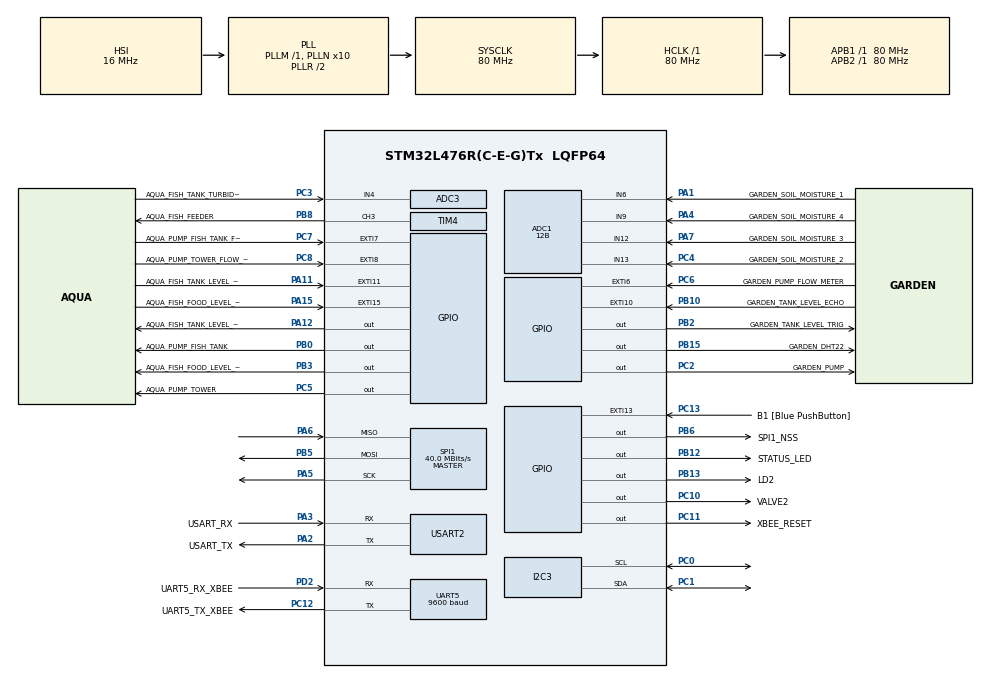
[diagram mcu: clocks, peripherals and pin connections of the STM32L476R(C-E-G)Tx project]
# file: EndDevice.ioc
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ADC1.Channel-41\#ChannelRegularConversion=ADC_CHANNEL_13
ADC1.Channel-54\#ChannelRegularConversion=ADC_CHANNEL_9
ADC1.ClockPrescaler=ADC_CLOCK_ASYNC_DIV1
ADC1.ContinuousConvMode=DISABLE
ADC1.DMAContinuousRequests=DISABLE
ADC1.DataAlign=ADC_DATAALIGN_RIGHT
ADC1.DiscontinuousConvMode=DISABLE
ADC1.EOCSelection=ADC_EOC_SINGLE_CONV
ADC1.EnableAnalogWatchDog1=false
ADC1.EnableAnalogWatchDog2=false
ADC1.EnableAnalogWatchDog3=false
ADC1.EnableInjectedConversion=DISABLE
ADC1.EnableRegularConversion=ENABLE
ADC1.ExternalTrigConv=ADC_SOFTWARE_START
ADC1.ExternalTrigConvEdge=ADC_EXTERNALTRIGCONVEDGE_NONE
ADC1.LowPowerAutoWait=DISABLE
ADC1.NbrOfConversion=1
ADC1.NbrOfConversionFlag=1
ADC1.OffsetNumber-41\#ChannelRegularConversion=ADC_OFFSET_NONE
ADC1.OffsetNumber-54\#ChannelRegularConversion=ADC_OFFSET_NONE
ADC1.Overrun=ADC_OVR_DATA_PRESERVED
ADC1.OversamplingMode=DISABLE
ADC1.Rank-41\#ChannelRegularConversion=1
ADC1.Rank-54\#ChannelRegularConversion=1
ADC1.Resolution=ADC_RESOLUTION_12B
ADC1.SamplingTime-41\#ChannelRegularConversion=ADC_SAMPLETIME_2CYCLES_5
ADC1.SamplingTime-54\#ChannelRegularConversion=ADC_SAMPLETIME_2CYCLES_5
ADC1.ScanConvMode=ADC_SCAN_DISABLE
ADC1.master=1
ADC3.Channel-1\#ChannelRegularConversion=ADC_CHANNEL_4
ADC3.NbrOfConversionFlag=1
ADC3.OffsetNumber-1\#ChannelRegularConversion=ADC_OFFSET_NONE
ADC3.Rank-1\#ChannelRegularConversion=1
ADC3.SamplingTime-1\#ChannelRegularConversion=ADC_SAMPLETIME_2CYCLES_5
FREERTOS.HEAP_NUMBER=1
FREERTOS.Tasks01=defaultTask,0,128,StartDefaultTask,Default
FREERTOS.configTOTAL_HEAP_SIZE=32000
FREERTOS.configUSE_TIMERS=1
Mcu.Family=STM32L4
Mcu.Name=STM32L476R(C-E-G)Tx
Mcu.Package=LQFP64
NVIC.EXTI15_10_IRQn=true\:5\:0\:false\:false\:true\:true
NVIC.EXTI9_5_IRQn=true\:5\:0\:false\:false\:true\:true
NVIC.PriorityGroup=NVIC_PRIORITYGROUP_4
NVIC.RTC_Alarm_IRQn=true\:5\:0\:false\:false\:true\:true
NVIC.SPI1_IRQn=true\:0\:0\:false\:false\:true\:false
NVIC.TIM1_UP_TIM16_IRQn=true\:0\:0\:false\:false\:true\:false
NVIC.TimeBase=TIM1_UP_TIM16_IRQn
NVIC.TimeBaseIP=TIM1
NVIC.UART5_IRQn=true\:5\:0\:false\:false\:true\:true
NVIC.USART2_IRQn=true\:5\:0\:false\:false\:true\:true
PA1.GPIO_Label=GARDEN_SOIL_MOISTURE_1
PA1.Signal=ADCx_IN6
PA11.GPIO_Label=AQUA_FISH_TANK_LEVEL_ECHO
PA11.Signal=GPXTI11
PA12.GPIO_Label=AQUA_FISH_TANK_LEVEL_TRIG
PA12.Signal=GPIO_Output
PA13.GPIO_Label=TMS
PA13.Mode=Serial_Wire
PA13.Signal=SYS_JTMS-SWDIO
PA14.GPIO_Label=TCK
PA14.Mode=Serial_Wire
PA14.Signal=SYS_JTCK-SWCLK
PA15.GPIO_Label=AQUA_FISH_FOOD_LEVEL_ECHO
PA15.Signal=GPXTI15
PA2.GPIO_Label=USART_TX
PA2.GPIO_Mode=GPIO_MODE_AF_PP
PA2.GPIO_PuPd=GPIO_NOPULL
PA2.GPIO_Speed=GPIO_SPEED_FREQ_VERY_HIGH
PA2.Mode=Asynchronous
PA2.Signal=USART2_TX
PA3.GPIO_Label=USART_RX
PA3.GPIO_Mode=GPIO_MODE_AF_PP
PA3.GPIO_PuPd=GPIO_NOPULL
PA3.GPIO_Speed=GPIO_SPEED_FREQ_VERY_HIGH
PA3.Mode=Asynchronous
PA3.Signal=USART2_RX
PA4.GPIO_Label=GARDEN_SOIL_MOISTURE_4
PA4.Signal=ADCx_IN9
PA5.Mode=Full_Duplex_Master
PA5.Signal=SPI1_SCK
PA6.Mode=Full_Duplex_Master
PA6.Signal=SPI1_MISO
PA7.GPIO_Label=GARDEN_SOIL_MOISTURE_3
PA7.Signal=ADCx_IN12
PB0.GPIO_Label=AQUA_PUMP_FISH_TANK
PB0.Signal=GPIO_Output
PB10.GPIO_Label=GARDEN_TANK_LEVEL_ECHO
PB10.Signal=GPXTI10
PB12.GPIO_Label=STATUS_LED
PB12.Signal=GPIO_Output
PB13.GPIO_Label=LD2
PB13.Signal=GPIO_Output
PB15.GPIO_Label=GARDEN_DHT22
PB15.Signal=GPIO_Output
PB2.GPIO_Label=GARDEN_TANK_LEVEL_TRIG
PB2.Signal=GPIO_Output
PB3.GPIO_Label=AQUA_FISH_FOOD_LEVEL_TRGI
PB3.Signal=GPIO_Output
PB5.Mode=Full_Duplex_Master
PB5.Signal=SPI1_MOSI
PB6.GPIO_Label=SPI1_NSS
PB6.Signal=GPIO_Output
PB8.GPIO_Label=AQUA_FISH_FEEDER
PB8.Signal=S_TIM4_CH3
PC0.Mode=I2C
PC0.Signal=I2C3_SCL
PC1.Mode=I2C
PC1.Signal=I2C3_SDA
PC10.GPIO_Label=VALVE2
PC10.Signal=GPIO_Output
PC11.GPIO_Label=XBEE_RESET
PC11.Signal=GPIO_Output
PC12.GPIO_Label=UART5_TX_XBEE
PC12.Mode=Asynchronous
PC12.Signal=UART5_TX
PC13.GPIO_Label=B1 [Blue PushButton]
PC13.GPIO_ModeDefaultEXTI=GPIO_MODE_EVT_RISING
PC13.GPIO_PuPd=GPIO_NOPULL
PC13.Signal=GPXTI13
PC14/OSC32_IN.Mode=LSE-External-Oscillator
PC14/OSC32_IN.Signal=RCC_OSC32_IN
PC15/OSC32_OUT.Mode=LSE-External-Oscillator
PC15/OSC32_OUT.Signal=RCC_OSC32_OUT
PC2.GPIO_Label=GARDEN_PUMP
PC2.Signal=GPIO_Output
PC3.GPIO_Label=AQUA_FISH_TANK_TURBIDITY
PC3.Signal=ADCx_IN4
PC4.GPIO_Label=GARDEN_SOIL_MOISTURE_2
PC4.Signal=ADCx_IN13
PC5.GPIO_Label=AQUA_PUMP_TOWER
PC5.Signal=GPIO_Output
PC6.GPIO_Label=GARDEN_PUMP_FLOW_METER
PC6.GPIO_PuPd=GPIO_PULLDOWN
PC6.Signal=GPXTI6
PC7.GPIO_Label=AQUA_PUMP_FISH_TANK_FLOW_METER
PC7.GPIO_PuPd=GPIO_PULLDOWN
PC7.Signal=GPXTI7
PC8.GPIO_Label=AQUA_PUMP_TOWER_FLOW_METER
PC8.GPIO_PuPd=GPIO_PULLDOWN
PC8.Signal=GPXTI8
PD2.GPIO_Label=UART5_RX_XBEE
PD2.Mode=Asynchronous
PD2.Signal=UART5_RX
PH0/OSC_IN.Signal=RCC_OSC_IN
PH1/OSC_OUT.Signal=RCC_OSC_OUT
ProjectManager.HeapSize=0x200
ProjectManager.StackSize=0x400
ProjectManager.TargetToolchain=MDK-ARM V5
RCC.ADCFreq_Value=64000000
RCC.AHBFreq_Value=80000000
RCC.APB1Freq_Value=80000000
RCC.APB1TimFreq_Value=80000000
RCC.APB2Freq_Value=80000000
RCC.APB2TimFreq_Value=80000000
RCC.CK48CLockSelection=RCC_USBCLKSOURCE_MSI
RCC.CortexFreq_Value=80000000
RCC.HCLKFreq_Value=80000000
RCC.HSE_VALUE=8000000
RCC.HSI_VALUE=16000000
RCC.MSIClockRange=RCC_MSIRANGE_11
RCC.MSI_VALUE=48000000
RCC.PLLN=10
RCC.PLLSourceVirtual=RCC_PLLSOURCE_HSI
RCC.PREFETCH_ENABLE=1
RCC.RTCClockSelection=RCC_RTCCLKSOURCE_LSE
RCC.SYSCLKFreq_VALUE=80000000
RCC.SYSCLKSource=RCC_SYSCLKSOURCE_PLLCLK
RCC.USBFreq_Value=48000000
RCC.VCOOutputFreq_Value=160000000
RTC.Format=RTC_FORMAT_BIN
SH.ADCx_IN12.0=ADC1_IN12,IN12-Single-Ended
SH.ADCx_IN13.0=ADC1_IN13,IN13-Single-Ended
SH.ADCx_IN4.0=ADC3_IN4,IN4-Single-Ended
SH.ADCx_IN6.0=ADC1_IN6,IN6-Single-Ended
SH.ADCx_IN9.0=ADC1_IN9,IN9-Single-Ended
SH.S_TIM4_CH3.0=TIM4_CH3,PWM Generation3 CH3
SPI1.CalculateBaudRate=40.0 MBits/s
SPI1.Mode=SPI_MODE_MASTER
TIM2.Period=0x60
TIM4.Channel-PWM\ Generation3\ CH3=TIM_CHANNEL_3
TIM4.Period=0x9C40
TIM4.Prescaler=40
TIM4.Pulse-PWM\ Generation3\ CH3=0xB29
UART5.BaudRate=9600
UART5.WordLength=UART_WORDLENGTH_8B
USART2.WordLength=UART_WORDLENGTH_8B
VP_FREERTOS_VS_ENABLE.Mode=Enabled
VP_RTC_VS_RTC_Activate.Mode=RTC_Enabled
VP_RTC_VS_RTC_Alarm_A_Intern.Mode=Alarm A
VP_RTC_VS_RTC_Alarm_B_Intern.Mode=Alarm B
VP_RTC_VS_RTC_Calendar.Mode=RTC_Calendar
VP_SYS_VS_tim1.Mode=TIM1
VP_TIM2_VS_ClockSourceINT.Mode=Internal
board=NUCLEO-L476RG

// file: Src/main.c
/**
  ******************************************************************************
  * File Name          : main.c
  * Description        : Main program body
  ******************************************************************************
  *
  * Copyright (c) 2016 STMicroelectronics International N.V.
  * All rights reserved.
  *
  * Redistribution and use in source and binary forms, with or without
  * modification, are permitted, provided that the following conditions are met:
  *
  * 1. Redistribution of source code must retain the above copyright notice,
  *    this list of conditions and the following disclaimer.
  * 2. Redistributions in binary form must reproduce the above copyright notice,
  *    this list of conditions and the following disclaimer in the documentation
  *    and/or other materials provided with the distribution.
  * 3. Neither the name of STMicroelectronics nor the names of other
  *    contributors to this software may be used to endorse or promote products
  *    derived from this software without specific written permission.
  * 4. This software, including modifications and/or derivative works of this
  *    software, must execute solely and exclusively on microcontroller or
  *    microprocessor devices manufactured by or for STMicroelectronics.
  * 5. Redistribution and use of this software other than as permitted under
  *    this license is void and will automatically terminate your rights under
  *    this license.
  *
  * THIS SOFTWARE IS PROVIDED BY STMICROELECTRONICS AND CONTRIBUTORS "AS IS"
  * AND ANY EXPRESS, IMPLIED OR STATUTORY WARRANTIES, INCLUDING, BUT NOT
  * LIMITED TO, THE IMPLIED WARRANTIES OF MERCHANTABILITY, FITNESS FOR A
  * PARTICULAR PURPOSE AND NON-INFRINGEMENT OF THIRD PARTY INTELLECTUAL PROPERTY
  * RIGHTS ARE DISCLAIMED TO THE FULLEST EXTENT PERMITTED BY LAW. IN NO EVENT
  * SHALL STMICROELECTRONICS OR CONTRIBUTORS BE LIABLE FOR ANY DIRECT, INDIRECT,
  * INCIDENTAL, SPECIAL, EXEMPLARY, OR CONSEQUENTIAL DAMAGES (INCLUDING, BUT NOT
  * LIMITED TO, PROCUREMENT OF SUBSTITUTE GOODS OR SERVICES; LOSS OF USE, DATA,
  * OR PROFITS; OR BUSINESS INTERRUPTION) HOWEVER CAUSED AND ON ANY THEORY OF
  * LIABILITY, WHETHER IN CONTRACT, STRICT LIABILITY, OR TORT (INCLUDING
  * NEGLIGENCE OR OTHERWISE) ARISING IN ANY WAY OUT OF THE USE OF THIS SOFTWARE,
  * EVEN IF ADVISED OF THE POSSIBILITY OF SUCH DAMAGE.
  *
  ******************************************************************************
  */
#include "main.h"
#include "stm32l4xx_hal.h"
#include "cmsis_os.h"

/* USER CODE BEGIN Includes */
#include "aqua_tasks.h"
#include "printf_mod.h"
#include "am2302.h"
#include "stm32l4xx_it.h"
#include "util_func.h"
#include "task_manager.h"
#include "garden_tasks.h"
#include "xbee_test.h"
#include "soil_moisture.h"
/* USER CODE END Includes */

ADC_HandleTypeDef hadc1;
ADC_HandleTypeDef hadc3;

I2C_HandleTypeDef hi2c3;

RTC_HandleTypeDef hrtc;

SPI_HandleTypeDef hspi1;

TIM_HandleTypeDef htim2;
TIM_HandleTypeDef htim4;

UART_HandleTypeDef huart5;
UART_HandleTypeDef huart2;

osThreadId defaultTaskHandle;

/* USER CODE BEGIN PV */
/* Private variables ---------------------------------------------------------*/
FILE __stdout;

RTC_TimeTypeDef time;
RTC_DateTypeDef date;
RTC_AlarmTypeDef first_alarm;

uint32_t sys_stat = 0;
uint32_t GARDEN_PUMP_FLOW_METER_count = 0;
uint32_t AQUA_PUMP_FISH_TANK_FLOW_METER_count = 0;
uint32_t AQUA_PUMP_TOWER_FLOW_METER_count = 0;

uint8_t debug_rx_buf[DEBUG_RX_BUF_SIZE] = {0};
uint8_t xbee_rx_buff[XBEE_RX_BUF_SIZE] = {0};
uint8_t xbee_tx_buff[XBEE_TX_BUF_SIZE] = {0};
uint8_t xbee_tx_buff_offset = 0;
uint8_t xbee_flag = 0;

uint8_t debug_rx_buf_idx = 0;
//uint32_t counter = 0;
uint8_t base_stn_dest_addr[] = {0x00, 0x13, 0xA2, 0x00, 0x40, 0xE7, 0xCB, 0x9A};

BaseType_t ret_val = 0;

TaskHandle_t debug_parse_data_rx_handle = NULL;
TaskHandle_t manage_garden_handle = NULL;
TaskHandle_t water_garden_handle = NULL;
TaskHandle_t check_flow_meters_handle = NULL;
TaskHandle_t read_temp_humid_handle = NULL;
TaskHandle_t read_soil_moisture_handle = NULL;
TaskHandle_t read_garden_tank_level_handle = NULL;
TaskHandle_t xbee_rx_task_handle = NULL;
TaskHandle_t status_led_handle = NULL;
TaskHandle_t water_towers_handle = NULL;
TaskHandle_t check_fish_food_handle = NULL;
TaskHandle_t check_fish_tank_level_handle = NULL;
TaskHandle_t test_task_handle = NULL;
TaskHandle_t feed_fish_handle = NULL;

QueueHandle_t xQueue_debug_parse_data_rx = NULL;
QueueHandle_t xQueue_rtc_alarm = NULL;
QueueHandle_t xQueue_water_garden = NULL;
QueueHandle_t xQueue_check_flow_meters = NULL;
QueueHandle_t xQueue_read_temp_humid = NULL;
QueueHandle_t xQueue_read_soil_moisture = NULL;
QueueHandle_t xQueue_parse_xbee_rx = NULL;
QueueHandle_t xQueue_read_garden_tank_level = NULL;
QueueHandle_t xQueue_water_towers = NULL;
QueueHandle_t xQueue_check_fish_food = NULL;
QueueHandle_t xQueue_check_fish_tank_level = NULL;
QueueHandle_t xQueue_test_task = NULL;
QueueHandle_t xQueue_feed_fish = NULL;

SemaphoreHandle_t xSemaphore_send_log = NULL;
SemaphoreHandle_t xSemaphore_timer2 = NULL;

//TimerHandle_t xTimers_set_RTC;

/* USER CODE END PV */

void SystemClock_Config(void);
void Error_Handler(void);
static void MX_GPIO_Init(void);
static void MX_USART2_UART_Init(void);
static void MX_TIM2_Init(void);
static void MX_SPI1_Init(void);
static void MX_TIM4_Init(void);
static void MX_UART5_Init(void);
static void MX_ADC3_Init(void);
static void MX_I2C3_Init(void);
static void MX_ADC1_Init(void);
void StartDefaultTask(void const * argument);

void HAL_TIM_MspPostInit(TIM_HandleTypeDef *htim);

/* USER CODE BEGIN PFP */
/* Private function prototypes -----------------------------------------------*/

void MX_RTC_Init(void);
void vCallbackFunction_Timers_RTC( TimerHandle_t xTimer );
//void DHT22_Init(void);

/* USER CODE END PFP */

int main(void)
{

  /* MCU Configuration----------------------------------------------------------*/

  /* Reset of all peripherals, Initializes the Flash interface and the Systick. */
  HAL_Init();

  /* Configure the system clock */
  SystemClock_Config();

  /* Initialize all configured peripherals */
  MX_GPIO_Init();
  MX_USART2_UART_Init();
  MX_TIM2_Init();
  MX_SPI1_Init();
  MX_TIM4_Init();
  MX_UART5_Init();
  MX_ADC3_Init();
  MX_I2C3_Init();
  MX_ADC1_Init();

  /* USER CODE BEGIN 2 */

	//HAL_GPIO_WritePin(SINGLE_WIRE_GPIO_Port, SINGLE_WIRE_Pin, GPIO_PIN_SET);

	MX_RTC_Init();

	//Enable UART2 RX Interrupt
	SET_BIT(huart2.Instance->CR1, USART_CR1_RXNEIE);
  HAL_NVIC_SetPriority(USART2_IRQn, 7, 1);
  HAL_NVIC_EnableIRQ(USART2_IRQn);

	//Enable UART5 RX Interrupt
	SET_BIT(huart5.Instance->CR1, USART_CR1_RXNEIE);
  HAL_NVIC_SetPriority(UART5_IRQn, 5, 1);
  HAL_NVIC_EnableIRQ(UART5_IRQn);

	//Enable RTC Alarm Interrupt
  HAL_NVIC_SetPriority(RTC_Alarm_IRQn, 7, 1);
  HAL_NVIC_EnableIRQ(RTC_Alarm_IRQn);

  //Enable EXTI9_5_IRQn Interrupt for water flow meters
  HAL_NVIC_SetPriority(EXTI9_5_IRQn,7, 1);
  HAL_NVIC_EnableIRQ(EXTI9_5_IRQn);

  /* USER CODE END 2 */

  /* USER CODE BEGIN RTOS_SEMAPHORES */
  /* add semaphores, ... */
	xSemaphore_send_log = xSemaphoreCreateMutex();
	xSemaphore_timer2 = xSemaphoreCreateMutex();
  /* USER CODE END RTOS_SEMAPHORES */

  /* USER CODE BEGIN RTOS_TIMERS */
  /* start timers, add new ones, ... */

	 //xTimers_set_RTC = xTimerCreate( "RTC Timer", pdMS_TO_TICKS(SHOW_TIME_EVERY_NMSECONDS), pdTRUE, ( void * ) 0, vCallbackFunction_Timers_RTC );
	 //xTimerStart(xTimers_set_RTC, 3000);

  /* USER CODE END RTOS_TIMERS */

  /* Create the thread(s) */
  /* definition and creation of defaultTask */
  osThreadDef(defaultTask, StartDefaultTask, osPriorityNormal, 0, 128);
  defaultTaskHandle = osThreadCreate(osThread(defaultTask), NULL);

  /* USER CODE BEGIN RTOS_THREADS */
  /* add threads, ... */

	ret_val = xTaskCreate(manage_garden, "manage_garden", ((uint16_t)512), &sys_stat, 1, &manage_garden_handle);

	ret_val = xTaskCreate(status_led_task, "statusLedTask", configMINIMAL_STACK_SIZE, &sys_stat, 1, &status_led_handle);
	ret_val = xTaskCreate(debug_parse_data_rx, "debugtask", configMINIMAL_STACK_SIZE, &sys_stat, 1, &debug_parse_data_rx_handle);
	ret_val = xTaskCreate(water_garden, "water_garden", configMINIMAL_STACK_SIZE, &sys_stat, 1, &water_garden_handle);
	ret_val = xTaskCreate(check_flow_meters, "check_flow_meters", configMINIMAL_STACK_SIZE, &sys_stat, 1, &check_flow_meters_handle);
	ret_val = xTaskCreate(read_temp_humid, "read_temp_humid", ((uint16_t)512), &sys_stat, 1, &read_temp_humid_handle);
	ret_val = xTaskCreate(get_soil_moisture, "read_soil_moisture", ((uint16_t)512), &sys_stat, 1, &read_soil_moisture_handle);
	ret_val = xTaskCreate(read_garden_tank_level, "read_garden_tank_level", configMINIMAL_STACK_SIZE, &sys_stat, 1, &read_garden_tank_level_handle);
	ret_val = xTaskCreate(xbee_rx_task, "xbee_rx_task", ((uint16_t)1024), &sys_stat, 1, &xbee_rx_task_handle);
	ret_val = xTaskCreate(water_towers, "water_towers", ((uint16_t)512), &sys_stat, 1, &water_towers_handle);
	ret_val = xTaskCreate(check_fish_food, "check_fish_food", ((uint16_t)512), &sys_stat, 1, &check_fish_food_handle);
	ret_val = xTaskCreate(check_fish_tank_level, "check_fish_tank_level", ((uint16_t)512), &sys_stat, 1, &check_fish_tank_level_handle);
	ret_val = xTaskCreate(feed_fish, "feed_fish", configMINIMAL_STACK_SIZE, &sys_stat, 1, &feed_fish_handle);

  //ret_val = xTaskCreate(test_task, "test", ((uint16_t)1024), &sys_stat, 1, &test_task_handle);

  /* USER CODE END RTOS_THREADS */

  /* USER CODE BEGIN RTOS_QUEUES */
  /* add queues, ... */
	xQueue_debug_parse_data_rx = xQueueCreate( 1, 1);
	xQueue_rtc_alarm = xQueueCreate( 1, 1);
	xQueue_water_garden = xQueueCreate( 1, 1);
	xQueue_check_flow_meters = xQueueCreate( 1, 1);
	xQueue_read_temp_humid = xQueueCreate( 1, 1);
	xQueue_parse_xbee_rx = xQueueCreate( 1, 1);
	xQueue_read_soil_moisture =  xQueueCreate( 1, 1);
	xQueue_read_garden_tank_level =  xQueueCreate( 1, 1);
	xQueue_water_towers =  xQueueCreate( 1, 1);
  xQueue_check_fish_food =  xQueueCreate( 1, 1);
	xQueue_check_fish_tank_level =  xQueueCreate( 1, 1);
	xQueue_feed_fish =  xQueueCreate( 1, 1);
  xQueue_test_task =  xQueueCreate( 1, 1);

	sys_stat = SYS_STAT_IDLE;
	initialize_system();

	printf("Starting OS Kernel..\r\n");
  /* USER CODE END RTOS_QUEUES */

  /* Start scheduler */
  osKernelStart();

  /* We should never get here as control is now taken by the scheduler */

  /* Infinite loop */
  while (1)
  {

  }

}

/** System Clock Configuration
*/
void SystemClock_Config(void)
{

  RCC_OscInitTypeDef RCC_OscInitStruct;
  RCC_ClkInitTypeDef RCC_ClkInitStruct;
  RCC_PeriphCLKInitTypeDef PeriphClkInit;

    /**Initializes the CPU, AHB and APB busses clocks
    */
  RCC_OscInitStruct.OscillatorType = RCC_OSCILLATORTYPE_HSI|RCC_OSCILLATORTYPE_LSE;
  RCC_OscInitStruct.LSEState = RCC_LSE_ON;
  RCC_OscInitStruct.HSIState = RCC_HSI_ON;
  RCC_OscInitStruct.HSICalibrationValue = 16;
  RCC_OscInitStruct.PLL.PLLState = RCC_PLL_ON;
  RCC_OscInitStruct.PLL.PLLSource = RCC_PLLSOURCE_HSI;
  RCC_OscInitStruct.PLL.PLLM = 1;
  RCC_OscInitStruct.PLL.PLLN = 10;
  RCC_OscInitStruct.PLL.PLLP = RCC_PLLP_DIV7;
  RCC_OscInitStruct.PLL.PLLQ = RCC_PLLQ_DIV2;
  RCC_OscInitStruct.PLL.PLLR = RCC_PLLR_DIV2;
  if (HAL_RCC_OscConfig(&RCC_OscInitStruct) != HAL_OK)
  {
    Error_Handler();
  }

    /**Initializes the CPU, AHB and APB busses clocks
    */
  RCC_ClkInitStruct.ClockType = RCC_CLOCKTYPE_HCLK|RCC_CLOCKTYPE_SYSCLK
                              |RCC_CLOCKTYPE_PCLK1|RCC_CLOCKTYPE_PCLK2;
  RCC_ClkInitStruct.SYSCLKSource = RCC_SYSCLKSOURCE_PLLCLK;
  RCC_ClkInitStruct.AHBCLKDivider = RCC_SYSCLK_DIV1;
  RCC_ClkInitStruct.APB1CLKDivider = RCC_HCLK_DIV1;
  RCC_ClkInitStruct.APB2CLKDivider = RCC_HCLK_DIV1;

  if (HAL_RCC_ClockConfig(&RCC_ClkInitStruct, FLASH_LATENCY_4) != HAL_OK)
  {
    Error_Handler();
  }

  PeriphClkInit.PeriphClockSelection = RCC_PERIPHCLK_RTC|RCC_PERIPHCLK_USART2
                              |RCC_PERIPHCLK_UART5|RCC_PERIPHCLK_I2C3
                              |RCC_PERIPHCLK_ADC;
  PeriphClkInit.Usart2ClockSelection = RCC_USART2CLKSOURCE_PCLK1;
  PeriphClkInit.Uart5ClockSelection = RCC_UART5CLKSOURCE_PCLK1;
  PeriphClkInit.I2c3ClockSelection = RCC_I2C3CLKSOURCE_PCLK1;
  PeriphClkInit.AdcClockSelection = RCC_ADCCLKSOURCE_PLLSAI1;
  PeriphClkInit.RTCClockSelection = RCC_RTCCLKSOURCE_LSE;
  PeriphClkInit.PLLSAI1.PLLSAI1Source = RCC_PLLSOURCE_HSI;
  PeriphClkInit.PLLSAI1.PLLSAI1M = 1;
  PeriphClkInit.PLLSAI1.PLLSAI1N = 8;
  PeriphClkInit.PLLSAI1.PLLSAI1P = RCC_PLLP_DIV7;
  PeriphClkInit.PLLSAI1.PLLSAI1Q = RCC_PLLQ_DIV2;
  PeriphClkInit.PLLSAI1.PLLSAI1R = RCC_PLLR_DIV2;
  PeriphClkInit.PLLSAI1.PLLSAI1ClockOut = RCC_PLLSAI1_ADC1CLK;
  if (HAL_RCCEx_PeriphCLKConfig(&PeriphClkInit) != HAL_OK)
  {
    Error_Handler();
  }

    /**Configure the main internal regulator output voltage
    */
  if (HAL_PWREx_ControlVoltageScaling(PWR_REGULATOR_VOLTAGE_SCALE1) != HAL_OK)
  {
    Error_Handler();
  }

    /**Configure the Systick interrupt time
    */
  HAL_SYSTICK_Config(HAL_RCC_GetHCLKFreq()/1000);

    /**Configure the Systick
    */
  HAL_SYSTICK_CLKSourceConfig(SYSTICK_CLKSOURCE_HCLK);

  /* SysTick_IRQn interrupt configuration */
  HAL_NVIC_SetPriority(SysTick_IRQn, 15, 0);
}

/* ADC1 init function */
static void MX_ADC1_Init(void)
{

  ADC_MultiModeTypeDef multimode;
  ADC_ChannelConfTypeDef sConfig;

    /**Common config
    */
  hadc1.Instance = ADC1;
  hadc1.Init.ClockPrescaler = ADC_CLOCK_ASYNC_DIV1;
  hadc1.Init.Resolution = ADC_RESOLUTION_12B;
  hadc1.Init.DataAlign = ADC_DATAALIGN_RIGHT;
  hadc1.Init.ScanConvMode = ADC_SCAN_DISABLE;
  hadc1.Init.EOCSelection = ADC_EOC_SINGLE_CONV;
  hadc1.Init.LowPowerAutoWait = DISABLE;
  hadc1.Init.ContinuousConvMode = DISABLE;
  hadc1.Init.NbrOfConversion = 1;
  hadc1.Init.DiscontinuousConvMode = DISABLE;
  hadc1.Init.NbrOfDiscConversion = 1;
  hadc1.Init.ExternalTrigConv = ADC_SOFTWARE_START;
  hadc1.Init.ExternalTrigConvEdge = ADC_EXTERNALTRIGCONVEDGE_NONE;
  hadc1.Init.DMAContinuousRequests = DISABLE;
  hadc1.Init.Overrun = ADC_OVR_DATA_PRESERVED;
  hadc1.Init.OversamplingMode = DISABLE;
  if (HAL_ADC_Init(&hadc1) != HAL_OK)
  {
    Error_Handler();
  }

    /**Configure the ADC multi-mode
    */
  multimode.Mode = ADC_MODE_INDEPENDENT;
  if (HAL_ADCEx_MultiModeConfigChannel(&hadc1, &multimode) != HAL_OK)
  {
    Error_Handler();
  }

    /**Configure Regular Channel
    */
  sConfig.Channel = ADC_CHANNEL_9;
  sConfig.Rank = 1;
  sConfig.SamplingTime = ADC_SAMPLETIME_2CYCLES_5;
  sConfig.SingleDiff = ADC_SINGLE_ENDED;
  sConfig.OffsetNumber = ADC_OFFSET_NONE;
  sConfig.Offset = 0;
  if (HAL_ADC_ConfigChannel(&hadc1, &sConfig) != HAL_OK)
  {
    Error_Handler();
  }

    /**Configure Regular Channel
    */
  sConfig.Channel = ADC_CHANNEL_13;
  if (HAL_ADC_ConfigChannel(&hadc1, &sConfig) != HAL_OK)
  {
    Error_Handler();
  }

}

/* ADC3 init function */
static void MX_ADC3_Init(void)
{

  ADC_ChannelConfTypeDef sConfig;

    /**Common config
    */
  hadc3.Instance = ADC3;
  hadc3.Init.ClockPrescaler = ADC_CLOCK_ASYNC_DIV1;
  hadc3.Init.Resolution = ADC_RESOLUTION_12B;
  hadc3.Init.DataAlign = ADC_DATAALIGN_RIGHT;
  hadc3.Init.ScanConvMode = ADC_SCAN_DISABLE;
  hadc3.Init.EOCSelection = ADC_EOC_SINGLE_CONV;
  hadc3.Init.LowPowerAutoWait = DISABLE;
  hadc3.Init.ContinuousConvMode = DISABLE;
  hadc3.Init.NbrOfConversion = 1;
  hadc3.Init.DiscontinuousConvMode = DISABLE;
  hadc3.Init.NbrOfDiscConversion = 1;
  hadc3.Init.ExternalTrigConv = ADC_SOFTWARE_START;
  hadc3.Init.ExternalTrigConvEdge = ADC_EXTERNALTRIGCONVEDGE_NONE;
  hadc3.Init.DMAContinuousRequests = DISABLE;
  hadc3.Init.Overrun = ADC_OVR_DATA_PRESERVED;
  hadc3.Init.OversamplingMode = DISABLE;
  if (HAL_ADC_Init(&hadc3) != HAL_OK)
  {
    Error_Handler();
  }

    /**Configure Regular Channel
    */
  sConfig.Channel = ADC_CHANNEL_4;
  sConfig.Rank = 1;
  sConfig.SamplingTime = ADC_SAMPLETIME_2CYCLES_5;
  sConfig.SingleDiff = ADC_SINGLE_ENDED;
  sConfig.OffsetNumber = ADC_OFFSET_NONE;
  sConfig.Offset = 0;
  if (HAL_ADC_ConfigChannel(&hadc3, &sConfig) != HAL_OK)
  {
    Error_Handler();
  }

}

/* I2C3 init function */
static void MX_I2C3_Init(void)
{

  hi2c3.Instance = I2C3;
  hi2c3.Init.Timing = 0x10909CEC;
  hi2c3.Init.OwnAddress1 = 0;
  hi2c3.Init.AddressingMode = I2C_ADDRESSINGMODE_7BIT;
  hi2c3.Init.DualAddressMode = I2C_DUALADDRESS_DISABLE;
  hi2c3.Init.OwnAddress2 = 0;
  hi2c3.Init.OwnAddress2Masks = I2C_OA2_NOMASK;
  hi2c3.Init.GeneralCallMode = I2C_GENERALCALL_DISABLE;
  hi2c3.Init.NoStretchMode = I2C_NOSTRETCH_DISABLE;
  if (HAL_I2C_Init(&hi2c3) != HAL_OK)
  {
    Error_Handler();
  }

    /**Configure Analogue filter
    */
  if (HAL_I2CEx_ConfigAnalogFilter(&hi2c3, I2C_ANALOGFILTER_ENABLE) != HAL_OK)
  {
    Error_Handler();
  }

}

/* SPI1 init function */
static void MX_SPI1_Init(void)
{

  hspi1.Instance = SPI1;
  hspi1.Init.Mode = SPI_MODE_MASTER;
  hspi1.Init.Direction = SPI_DIRECTION_2LINES;
  hspi1.Init.DataSize = SPI_DATASIZE_4BIT;
  hspi1.Init.CLKPolarity = SPI_POLARITY_LOW;
  hspi1.Init.CLKPhase = SPI_PHASE_1EDGE;
  hspi1.Init.NSS = SPI_NSS_SOFT;
  hspi1.Init.BaudRatePrescaler = SPI_BAUDRATEPRESCALER_2;
  hspi1.Init.FirstBit = SPI_FIRSTBIT_MSB;
  hspi1.Init.TIMode = SPI_TIMODE_DISABLE;
  hspi1.Init.CRCCalculation = SPI_CRCCALCULATION_DISABLE;
  hspi1.Init.CRCPolynomial = 7;
  hspi1.Init.CRCLength = SPI_CRC_LENGTH_DATASIZE;
  hspi1.Init.NSSPMode = SPI_NSS_PULSE_ENABLE;
  if (HAL_SPI_Init(&hspi1) != HAL_OK)
  {
    Error_Handler();
  }

}

/* TIM2 init function */
static void MX_TIM2_Init(void)
{

  TIM_ClockConfigTypeDef sClockSourceConfig;
  TIM_MasterConfigTypeDef sMasterConfig;

  htim2.Instance = TIM2;
  htim2.Init.Prescaler = 0;
  htim2.Init.CounterMode = TIM_COUNTERMODE_UP;
  htim2.Init.Period = 0x60;
  htim2.Init.ClockDivision = TIM_CLOCKDIVISION_DIV1;
  if (HAL_TIM_Base_Init(&htim2) != HAL_OK)
  {
    Error_Handler();
  }

  sClockSourceConfig.ClockSource = TIM_CLOCKSOURCE_INTERNAL;
  if (HAL_TIM_ConfigClockSource(&htim2, &sClockSourceConfig) != HAL_OK)
  {
    Error_Handler();
  }

  sMasterConfig.MasterOutputTrigger = TIM_TRGO_RESET;
  sMasterConfig.MasterSlaveMode = TIM_MASTERSLAVEMODE_DISABLE;
  if (HAL_TIMEx_MasterConfigSynchronization(&htim2, &sMasterConfig) != HAL_OK)
  {
    Error_Handler();
  }

}

/* TIM4 init function */
static void MX_TIM4_Init(void)
{

  TIM_MasterConfigTypeDef sMasterConfig;
  TIM_OC_InitTypeDef sConfigOC;

  htim4.Instance = TIM4;
  htim4.Init.Prescaler = 40;
  htim4.Init.CounterMode = TIM_COUNTERMODE_UP;
  htim4.Init.Period = 0x9C40;
  htim4.Init.ClockDivision = TIM_CLOCKDIVISION_DIV1;
  if (HAL_TIM_PWM_Init(&htim4) != HAL_OK)
  {
    Error_Handler();
  }

  sMasterConfig.MasterOutputTrigger = TIM_TRGO_RESET;
  sMasterConfig.MasterSlaveMode = TIM_MASTERSLAVEMODE_DISABLE;
  if (HAL_TIMEx_MasterConfigSynchronization(&htim4, &sMasterConfig) != HAL_OK)
  {
    Error_Handler();
  }

  sConfigOC.OCMode = TIM_OCMODE_PWM1;
  sConfigOC.Pulse = 0xB29;
  sConfigOC.OCPolarity = TIM_OCPOLARITY_HIGH;
  sConfigOC.OCFastMode = TIM_OCFAST_DISABLE;
  if (HAL_TIM_PWM_ConfigChannel(&htim4, &sConfigOC, TIM_CHANNEL_3) != HAL_OK)
  {
    Error_Handler();
  }

  HAL_TIM_MspPostInit(&htim4);

}

/* UART5 init function */
static void MX_UART5_Init(void)
{

  huart5.Instance = UART5;
  huart5.Init.BaudRate = 9600;
  huart5.Init.WordLength = UART_WORDLENGTH_8B;
  huart5.Init.StopBits = UART_STOPBITS_1;
  huart5.Init.Parity = UART_PARITY_NONE;
  huart5.Init.Mode = UART_MODE_TX_RX;
  huart5.Init.HwFlowCtl = UART_HWCONTROL_NONE;
  huart5.Init.OverSampling = UART_OVERSAMPLING_16;
  huart5.Init.OneBitSampling = UART_ONE_BIT_SAMPLE_DISABLE;
  huart5.AdvancedInit.AdvFeatureInit = UART_ADVFEATURE_NO_INIT;
  if (HAL_UART_Init(&huart5) != HAL_OK)
  {
    Error_Handler();
  }

}

/* USART2 init function */
static void MX_USART2_UART_Init(void)
{

  huart2.Instance = USART2;
  huart2.Init.BaudRate = 115200;
  huart2.Init.WordLength = UART_WORDLENGTH_8B;
  huart2.Init.StopBits = UART_STOPBITS_1;
  huart2.Init.Parity = UART_PARITY_NONE;
  huart2.Init.Mode = UART_MODE_TX_RX;
  huart2.Init.HwFlowCtl = UART_HWCONTROL_NONE;
  huart2.Init.OverSampling = UART_OVERSAMPLING_16;
  huart2.Init.OneBitSampling = UART_ONE_BIT_SAMPLE_DISABLE;
  huart2.AdvancedInit.AdvFeatureInit = UART_ADVFEATURE_NO_INIT;
  if (HAL_UART_Init(&huart2) != HAL_OK)
  {
    Error_Handler();
  }

}

/** Configure pins as
        * Analog
        * Input
        * Output
        * EVENT_OUT
        * EXTI
*/
static void MX_GPIO_Init(void)
{

  GPIO_InitTypeDef GPIO_InitStruct;

  /* GPIO Ports Clock Enable */
  __HAL_RCC_GPIOC_CLK_ENABLE();
  __HAL_RCC_GPIOH_CLK_ENABLE();
  __HAL_RCC_GPIOA_CLK_ENABLE();
  __HAL_RCC_GPIOB_CLK_ENABLE();
  __HAL_RCC_GPIOD_CLK_ENABLE();

  /*Configure GPIO pin : B1_Pin */
  GPIO_InitStruct.Pin = B1_Pin;
  GPIO_InitStruct.Mode = GPIO_MODE_EVT_RISING;
  GPIO_InitStruct.Pull = GPIO_NOPULL;
  HAL_GPIO_Init(B1_GPIO_Port, &GPIO_InitStruct);

  /*Configure GPIO pins : GARDEN_PUMP_Pin AQUA_PUMP_TOWER_Pin VALVE2_Pin XBEE_RESET_Pin */
  GPIO_InitStruct.Pin = GARDEN_PUMP_Pin|AQUA_PUMP_TOWER_Pin|VALVE2_Pin|XBEE_RESET_Pin;
  GPIO_InitStruct.Mode = GPIO_MODE_OUTPUT_PP;
  GPIO_InitStruct.Pull = GPIO_NOPULL;
  GPIO_InitStruct.Speed = GPIO_SPEED_FREQ_LOW;
  HAL_GPIO_Init(GPIOC, &GPIO_InitStruct);

  /*Configure GPIO pins : AQUA_PUMP_FISH_TANK_Pin GARDEN_TANK_LEVEL_TRIG_Pin STATUS_LED_Pin LD2_Pin
                           GARDEN_DHT22_Pin AQUA_FISH_FOOD_LEVEL_TRGI_Pin SPI1_NSS_Pin */
  GPIO_InitStruct.Pin = AQUA_PUMP_FISH_TANK_Pin|GARDEN_TANK_LEVEL_TRIG_Pin|STATUS_LED_Pin|LD2_Pin
                          |GARDEN_DHT22_Pin|AQUA_FISH_FOOD_LEVEL_TRGI_Pin|SPI1_NSS_Pin;
  GPIO_InitStruct.Mode = GPIO_MODE_OUTPUT_PP;
  GPIO_InitStruct.Pull = GPIO_NOPULL;
  GPIO_InitStruct.Speed = GPIO_SPEED_FREQ_LOW;
  HAL_GPIO_Init(GPIOB, &GPIO_InitStruct);

  /*Configure GPIO pin : GARDEN_TANK_LEVEL_ECHO_Pin */
  GPIO_InitStruct.Pin = GARDEN_TANK_LEVEL_ECHO_Pin;
  GPIO_InitStruct.Mode = GPIO_MODE_IT_RISING;
  GPIO_InitStruct.Pull = GPIO_NOPULL;
  HAL_GPIO_Init(GARDEN_TANK_LEVEL_ECHO_GPIO_Port, &GPIO_InitStruct);

  /*Configure GPIO pins : GARDEN_PUMP_FLOW_METER_Pin AQUA_PUMP_FISH_TANK_FLOW_METER_Pin AQUA_PUMP_TOWER_FLOW_METER_Pin */
  GPIO_InitStruct.Pin = GARDEN_PUMP_FLOW_METER_Pin|AQUA_PUMP_FISH_TANK_FLOW_METER_Pin|AQUA_PUMP_TOWER_FLOW_METER_Pin;
  GPIO_InitStruct.Mode = GPIO_MODE_IT_RISING;
  GPIO_InitStruct.Pull = GPIO_PULLDOWN;
  HAL_GPIO_Init(GPIOC, &GPIO_InitStruct);

  /*Configure GPIO pins : AQUA_FISH_TANK_LEVEL_ECHO_Pin AQUA_FISH_FOOD_LEVEL_ECHO_Pin */
  GPIO_InitStruct.Pin = AQUA_FISH_TANK_LEVEL_ECHO_Pin|AQUA_FISH_FOOD_LEVEL_ECHO_Pin;
  GPIO_InitStruct.Mode = GPIO_MODE_IT_RISING;
  GPIO_InitStruct.Pull = GPIO_NOPULL;
  HAL_GPIO_Init(GPIOA, &GPIO_InitStruct);

  /*Configure GPIO pin : AQUA_FISH_TANK_LEVEL_TRIG_Pin */
  GPIO_InitStruct.Pin = AQUA_FISH_TANK_LEVEL_TRIG_Pin;
  GPIO_InitStruct.Mode = GPIO_MODE_OUTPUT_PP;
  GPIO_InitStruct.Pull = GPIO_NOPULL;
  GPIO_InitStruct.Speed = GPIO_SPEED_FREQ_LOW;
  HAL_GPIO_Init(AQUA_FISH_TANK_LEVEL_TRIG_GPIO_Port, &GPIO_InitStruct);

  /*Configure GPIO pin Output Level */
  HAL_GPIO_WritePin(GPIOC, GARDEN_PUMP_Pin|AQUA_PUMP_TOWER_Pin|VALVE2_Pin|XBEE_RESET_Pin, GPIO_PIN_RESET);

  /*Configure GPIO pin Output Level */
  HAL_GPIO_WritePin(GPIOB, AQUA_PUMP_FISH_TANK_Pin|GARDEN_TANK_LEVEL_TRIG_Pin|STATUS_LED_Pin|LD2_Pin
                          |GARDEN_DHT22_Pin|AQUA_FISH_FOOD_LEVEL_TRGI_Pin|SPI1_NSS_Pin, GPIO_PIN_RESET);

  /*Configure GPIO pin Output Level */
  HAL_GPIO_WritePin(AQUA_FISH_TANK_LEVEL_TRIG_GPIO_Port, AQUA_FISH_TANK_LEVEL_TRIG_Pin, GPIO_PIN_RESET);

  /* EXTI interrupt init*/
  HAL_NVIC_SetPriority(EXTI9_5_IRQn, 5, 0);
  HAL_NVIC_EnableIRQ(EXTI9_5_IRQn);

  HAL_NVIC_SetPriority(EXTI15_10_IRQn, 5, 0);
  HAL_NVIC_EnableIRQ(EXTI15_10_IRQn);

}

/* USER CODE BEGIN 4 */

void vCallbackFunction_Timers_RTC( TimerHandle_t xTimer )
{
			//must use semaphor to for uart use
		uint8_t val = 0;

		//if(aqua_status & status_RTC_INIT_OK) {
		//HAL_RTC_GetTime(&hrtc, &time, RTC_FORMAT_BIN);
		//HAL_RTC_GetDate(&hrtc, &date, RTC_FORMAT_BIN);

		//printf("TIME is = %d:%d:%d   ", time.Hours, time.Minutes, time.Seconds);
		//printf("DATE is = %d/%d/%d \r\n", date.Month, date.Date, date.Year);
		//xQueueSend(xQueue_read_am2302, &val, 1000);
		//}
}

int fputc(int ch, FILE *f) {
    /* Do your stuff here */
    /* Send your custom byte */
    /* Send byte to USART */
		uint8_t buf[2] = {0};
		uint32_t count;
		buf[0] = ch;
    //HAL_Delay(1);

		HAL_UART_Transmit(&huart2, buf, 1, 1000);

    /* If everything is OK, you have to return character written */
    return ch;
    /* If character is not correct, you can return EOF (-1) to stop writing */
    //return -1;
}

void MX_RTC_Init(void)
{

	/* note:
	     Configure the RTC_CR register
    //hrtc->Instance->CR |= (uint32_t)(sTime->DayLightSaving | sTime->StoreOperation);
		//inside HAL_StatusTypeDef HAL_RTC_SetTime

	  //commented this code in the stm32l4xx_hal_rtc.c to fix HT issue writing unwanted 0x02
	  //causing the hour alarm to be sometimes unreachable. since max is 24 hours
	*/
  RTC_TimeTypeDef sTime;
  RTC_DateTypeDef sDate;
  RTC_AlarmTypeDef sAlarm;

    /**Initialize RTC and set the Time and Date
    */
  hrtc.Instance = RTC;
  hrtc.Init.HourFormat = RTC_HOURFORMAT_24;
  hrtc.Init.AsynchPrediv = 127;
  hrtc.Init.SynchPrediv = 255;
  hrtc.Init.OutPut = RTC_OUTPUT_DISABLE;
  hrtc.Init.OutPutRemap = RTC_OUTPUT_REMAP_NONE;
  hrtc.Init.OutPutPolarity = RTC_OUTPUT_POLARITY_HIGH;
  hrtc.Init.OutPutType = RTC_OUTPUT_TYPE_OPENDRAIN;
  if (HAL_RTC_Init(&hrtc) != HAL_OK)
  {
    Error_Handler();
  }

}

/* USER CODE END 4 */

/* StartDefaultTask function */
void StartDefaultTask(void const * argument)
{

  for(;;)
  {
    osDelay(1);
  }
}

void HAL_TIM_PeriodElapsedCallback(TIM_HandleTypeDef *htim)
{
  if (htim->Instance == TIM1) {
    HAL_IncTick();
  }
}

void Error_Handler(void)
{
  while(1)
  {
  }
}

/************************ (C) COPYRIGHT STMicroelectronics *****END OF FILE****/
